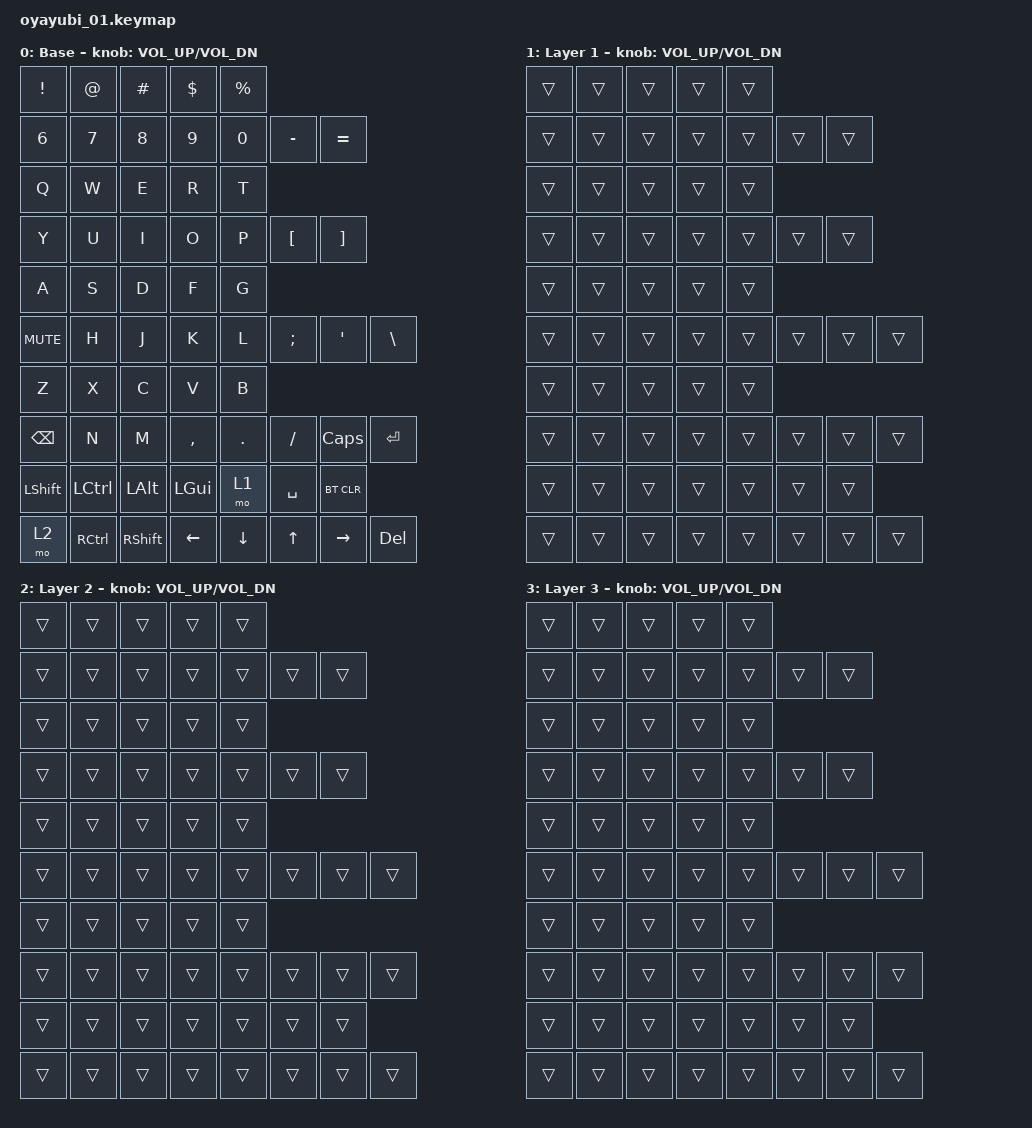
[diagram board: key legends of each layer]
// oyayubi_01 デフォルトキーマップ
// 左手: docs/左手_配置座標表.md の「キー」列を初期値に使用
// 右手: QWERTY 配列の妥当な初期値。実機確認後に調整する
// map の順番 = bindings の順番 (行ごとに 左→右)
// 全 65 キー + エンコーダ 1 個

#include <behaviors.dtsi>
#include <dt-bindings/zmk/keys.h>
#include <dt-bindings/zmk/bt.h>

/ {
    keymap {
        compatible = "zmk,keymap";

        default_layer {
            display-name = "Base";
            // ┌──────────────────────────────────────────────────────┐
            // │  Row0  左:!  @  #  $  %    右:6  7  8  9  0  -  =   │
            // │  Row1  左:Q  W  E  R  T    右:Y  U  I  O  P  [  ]   │
            // │  Row2  左:A  S  D  F  G    右:🔇 H  J  K  L  ;  '  \│
            // │  Row3  左:Z  X  C  V  B    右:⌫  N  M  ,  .  /  ⇪ ↵│
            // │  Row4  左:⇧ ⌃ ⌥ ⌘ ⌥ ␣ BT_CLR  右:⌥ ⌃ ⇧ ← ↓ ↑ → ⌦   │
            // └──────────────────────────────────────────────────────┘
            bindings = <
                // Row0 (12)
                &kp EXCL   &kp AT     &kp HASH   &kp DLLR   &kp PRCNT
                &kp N6     &kp N7     &kp N8     &kp N9     &kp N0     &kp MINUS  &kp EQUAL

                // Row1 (12)
                &kp Q      &kp W      &kp E      &kp R      &kp T
                &kp Y      &kp U      &kp I      &kp O      &kp P      &kp LBKT   &kp RBKT

                // Row2 (13)
                &kp A      &kp S      &kp D      &kp F      &kp G
                &kp C_MUTE &kp H      &kp J      &kp K      &kp L      &kp SEMI   &kp SQT    &kp BSLH

                // Row3 (13)
                &kp Z      &kp X      &kp C      &kp V      &kp B
                &kp BSPC   &kp N      &kp M      &kp COMMA  &kp DOT    &kp FSLH   &kp CAPS   &kp RET

                // Row4 (15)
                &kp LSHFT  &kp LCTRL  &kp LALT   &kp LGUI   &mo 1      &kp SPACE  &bt BT_CLR   
                &mo 2      &kp RCTRL  &kp RSHFT  &kp LEFT   &kp DOWN   &kp UP     &kp RIGHT  &kp DEL
            >;

            // 右手エンコーダ: 時計回り=音量UP、反時計=音量DOWN
            // 左側ビルド時はセンサーが存在しないため ZMK が自動的に無視する
            sensor-bindings = <&inc_dec_kp C_VOL_UP C_VOL_DN>;
        };

        layer_1 {
            display-name = "Layer 1";
            bindings = <
                // Row0 (12)
                &trans  &trans  &trans  &trans  &trans  &trans  &trans  &trans  &trans  &trans  &trans  &trans
                // Row1 (12)
                &trans  &trans  &trans  &trans  &trans  &trans  &trans  &trans  &trans  &trans  &trans  &trans
                // Row2 (13)
                &trans  &trans  &trans  &trans  &trans  &trans  &trans  &trans  &trans  &trans  &trans  &trans  &trans
                // Row3 (13)
                &trans  &trans  &trans  &trans  &trans  &trans  &trans  &trans  &trans  &trans  &trans  &trans  &trans
                // Row4 (15)
                &trans  &trans  &trans  &trans  &trans  &trans  &trans  &trans  &trans  &trans  &trans  &trans  &trans  &trans  &trans
            >;
            sensor-bindings = <&inc_dec_kp C_VOL_UP C_VOL_DN>;
        };

        layer_2 {
            display-name = "Layer 2";
            bindings = <
                // Row0 (12)
                &trans  &trans  &trans  &trans  &trans  &trans  &trans  &trans  &trans  &trans  &trans  &trans
                // Row1 (12)
                &trans  &trans  &trans  &trans  &trans  &trans  &trans  &trans  &trans  &trans  &trans  &trans
                // Row2 (13)
                &trans  &trans  &trans  &trans  &trans  &trans  &trans  &trans  &trans  &trans  &trans  &trans  &trans
                // Row3 (13)
                &trans  &trans  &trans  &trans  &trans  &trans  &trans  &trans  &trans  &trans  &trans  &trans  &trans
                // Row4 (15)
                &trans  &trans  &trans  &trans  &trans  &trans  &trans  &trans  &trans  &trans  &trans  &trans  &trans  &trans  &trans
            >;
            sensor-bindings = <&inc_dec_kp C_VOL_UP C_VOL_DN>;
        };

        layer_3 {
            display-name = "Layer 3";
            bindings = <
                // Row0 (12)
                &trans  &trans  &trans  &trans  &trans  &trans  &trans  &trans  &trans  &trans  &trans  &trans
                // Row1 (12)
                &trans  &trans  &trans  &trans  &trans  &trans  &trans  &trans  &trans  &trans  &trans  &trans
                // Row2 (13)
                &trans  &trans  &trans  &trans  &trans  &trans  &trans  &trans  &trans  &trans  &trans  &trans  &trans
                // Row3 (13)
                &trans  &trans  &trans  &trans  &trans  &trans  &trans  &trans  &trans  &trans  &trans  &trans  &trans
                // Row4 (15)
                &trans  &trans  &trans  &trans  &trans  &trans  &trans  &trans  &trans  &trans  &trans  &trans  &trans  &trans  &trans
            >;
            sensor-bindings = <&inc_dec_kp C_VOL_UP C_VOL_DN>;
        };
    };
};
